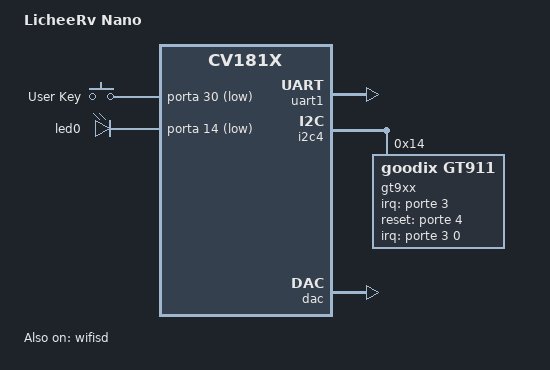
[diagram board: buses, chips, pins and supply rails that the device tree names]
/dts-v1/;
#include "cv181x_base_riscv.dtsi"
#include "cv181x_asic_qfn.dtsi"
#include "cv181x_asic_sd.dtsi"
#include "cv181x_default_memmap.dtsi"

#include <dt-bindings/input/linux-event-codes.h>
#include <dt-bindings/gpio/gpio.h>
#include <dt-bindings/leds/common.h>
#ifndef __UBOOT__
#include <dt-bindings/mailbox/cvitek-mailbox.h>
#endif

&sd {
        min-frequency = <400000>; // 400Khz
        //max-frequency = <50000000>; // 50Mhz
        max-frequency = <25000000>; // 25Mhz
        //max-frequency = <10000000>; // 10Mhz
        //max-frequency = <5000000>; // 5Mhz
};


&uart1 {
        status = "okay";
};


&i2c4 {
        statuc = "okay";
        gt9xx: gt9xx@14 {
                compatible = "goodix,gt911";
                reg = <0x14>;
		interrupts = <3 0 IRQ_TYPE_EDGE_FALLING>;
		interrupt-parent = <&porte>;
                irq-gpios= <&porte 3 0>;
                reset-gpios = <&porte 4 0>;
                status = "okay";
        };
};

&dac {
        status = "okay";
        /delete-property/ mute-gpio-r;
};

&soc_thermal_0 {
	cooling-maps {
		map0 {
			trip = <&soc_thermal_trip_0>;
			cooling-device = <&cv181x_cooling THERMAL_NO_LIMIT 1>;
		};
		map1 {
			trip = <&soc_thermal_trip_1>;
			cooling-device = <&cv181x_cooling THERMAL_NO_LIMIT THERMAL_NO_LIMIT>;
		};
	};
};

/ {
        model = "LicheeRv Nano";

	/delete-node/ wifi_pin;
	/delete-node/ bt_pin;

        gpio-keys {
                compatible = "gpio-keys";
                key-user {
                        label = "User Key";
                        linux,code = <KEY_DISPLAYTOGGLE>;
                        debounce-interval = <1>;
                        gpios = <&porta 30 1>;
                };
        };

        wifisd:wifi-sd@4320000 {
                compatible = "cvitek,cv181x-sdio";
                bus-width = <4>;
                reg = <0x0 0x4320000 0x0 0x1000>;
                reg_names = "core_mem";
                src-frequency = <375000000>;
                min-frequency = <400000>; // 400Khz
                //max-frequency = <50000000>; // 50Mhz
                //max-frequency = <45000000>; // 45Mhz
                //max-frequency = <40000000>; // 40Mhz
                //max-frequency = <35000000>; // 35Mhz
                //max-frequency = <30000000>; // 30Mhz
                max-frequency = <25000000>; // 25Mhz
                //max-frequency = <20000000>; // 20Mhz
                //max-frequency = <15000000>; // 15Mhz
                //max-frequency = <10000000>; // 10Mhz
                //max-frequency = <5000000>; // 5Mhz
                64_addressing;
                reset_tx_rx_phy;
                non-removable;
                pll_index = <0x7>;
                pll_reg = <0x300207C>;
                no-mmc;
                no-sd;
                status = "okay";
                interrupts = <38 IRQ_TYPE_LEVEL_HIGH>;
                interrupt-parent = <&plic0>;
        };

        leds {
        	compatible = "gpio-leds";
	        led0 {
		        gpios = <&porta 14 GPIO_ACTIVE_LOW>;
		        linux,default-trigger = "heartbeat";
		        function = LED_FUNCTION_HEARTBEAT;
	        };
        };
#ifndef __UBOOT__        
        mbox: mbox@0x01900000 {
                compatible = "cvitek,sg200x-mailbox";
		reg = <0x0 0x01900000 0x0 0x1000>;
		reg-names = "mailbox";
                interrupts	= <101 IRQ_TYPE_LEVEL_HIGH>;
                interrupt-parent = <&plic0>;
                status = "okay";
                #mbox-cells = <4>;
        };

        cv181x-c906_1 {
		compatible	= "cvitek,cv181x-c906_1";
		memory-region	= <&fast_image &vdev0vring0 &vdev0vring1 &vdev0buffer>;
                firmware        = "c906-mcu.elf";
                resets		= <&rst RST_C906_1>;
		reset-names	= "sw_reset";
                clocks		= <&clk CV181X_CLK_C906_1>;
                clock-names     = "clk_c906_1";
                mboxes		= <&mbox 0 CVITEK_MBOX_DIRECTION_TX CVITEK_MBOX_C906_1 1>, <&mbox 1 CVITEK_MBOX_DIRECTION_RX CVITEK_MBOX_C906_1 1>;
	        mbox-names	= "vq_tx", "vq_rx";
                status		= "okay";
	};
#endif
};

